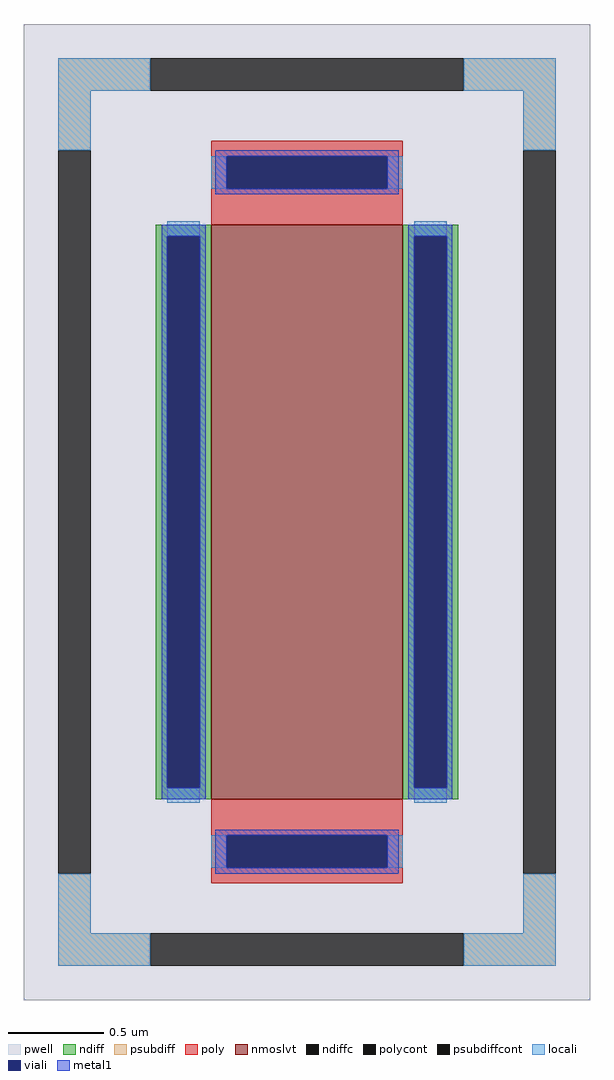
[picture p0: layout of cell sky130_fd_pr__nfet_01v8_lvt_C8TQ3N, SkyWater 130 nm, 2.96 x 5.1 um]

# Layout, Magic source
magic
tech sky130A
<< pwell >>
rect -148 -255 148 255
<< nmoslvt >>
rect -50 -150 50 150
<< ndiff >>
rect -79 144 -50 150
rect -79 -144 -73 144
rect -56 -144 -50 144
rect -79 -150 -50 -144
rect 50 144 79 150
rect 50 -144 56 144
rect 73 -144 79 144
rect 50 -150 79 -144
<< ndiffc >>
rect -73 -144 -56 144
rect 56 -144 73 144
<< psubdiff >>
rect -130 220 -82 237
rect 82 220 130 237
rect -130 189 -113 220
rect 113 189 130 220
rect -130 -220 -113 -189
rect 113 -220 130 -189
rect -130 -237 -82 -220
rect 82 -237 130 -220
<< psubdiffcont >>
rect -82 220 82 237
rect -130 -189 -113 189
rect 113 -189 130 189
rect -82 -237 82 -220
<< poly >>
rect -50 186 50 194
rect -50 169 -42 186
rect 42 169 50 186
rect -50 150 50 169
rect -50 -169 50 -150
rect -50 -186 -42 -169
rect 42 -186 50 -169
rect -50 -194 50 -186
<< polycont >>
rect -42 169 42 186
rect -42 -186 42 -169
<< locali >>
rect -130 220 -82 237
rect 82 220 130 237
rect -130 189 -113 220
rect 113 189 130 220
rect -50 169 -42 186
rect 42 169 50 186
rect -73 144 -56 152
rect -73 -152 -56 -144
rect 56 144 73 152
rect 56 -152 73 -144
rect -50 -186 -42 -169
rect 42 -186 50 -169
rect -130 -220 -113 -189
rect 113 -220 130 -189
rect -130 -237 -82 -220
rect 82 -237 130 -220
<< viali >>
rect -42 169 42 186
rect -73 -144 -56 144
rect 56 -144 73 144
rect -42 -186 42 -169
<< metal1 >>
rect -48 186 48 189
rect -48 169 -42 186
rect 42 169 48 186
rect -48 166 48 169
rect -76 144 -53 150
rect -76 -144 -73 144
rect -56 -144 -53 144
rect -76 -150 -53 -144
rect 53 144 76 150
rect 53 -144 56 144
rect 73 -144 76 144
rect 53 -150 76 -144
rect -48 -169 48 -166
rect -48 -186 -42 -169
rect 42 -186 48 -169
rect -48 -189 48 -186
<< properties >>
string FIXED_BBOX -121 -228 121 228
string gencell sky130_fd_pr__nfet_01v8_lvt
string library sky130
string parameters w 3.0 l 1.0 m 1 nf 1 diffcov 100 polycov 100 guard 1 glc 1 grc 1 gtc 1 gbc 1 tbcov 100 rlcov 100 topc 1 botc 1 poverlap 0 doverlap 1 lmin 0.15 wmin 0.42 compatible {sky130_fd_pr__nfet_01v8 sky130_fd_pr__nfet_01v8_lvt  sky130_fd_bs_flash__special_sonosfet_star  sky130_fd_pr__nfet_g5v0d10v5 sky130_fd_pr__nfet_05v0_nvt  sky130_fd_pr__nfet_03v3_nvt} full_metal 1 viasrc 100 viadrn 100 viagate 100 viagb 0 viagr 0 viagl 0 viagt 0
<< end >>
